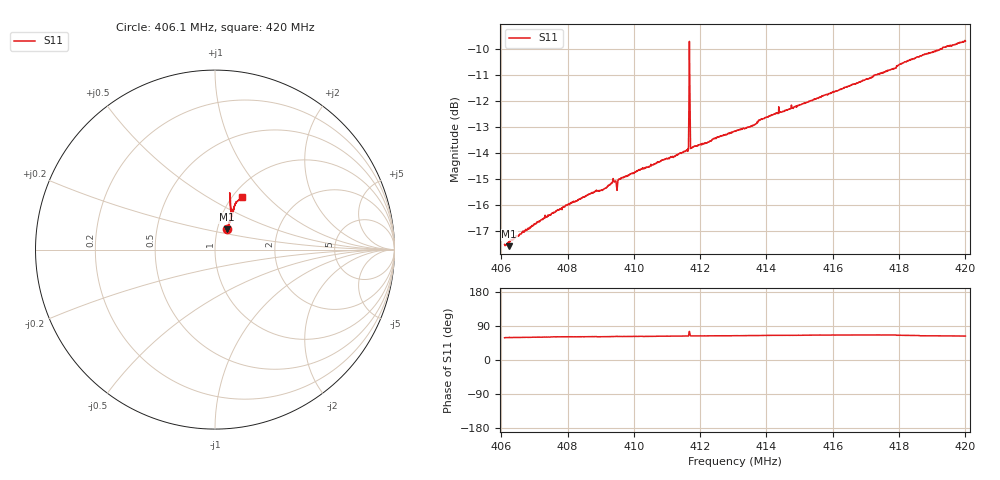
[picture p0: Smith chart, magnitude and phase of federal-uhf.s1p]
! Calibrated averaged scanner-service zoom
# Hz S RI R 50
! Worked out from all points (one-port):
!   2001 points, 406.1 MHz to 420 MHz, reference 50 ohm
!   lowest |S11| = -17.6 dB at 406.24 MHz (marker M1), VSWR 1.30, Z = 55.5 + j12.9 ohm
!   |S11| at or under -10 dB: start of sweep to 411.67 MHz; 411.68 MHz to 419.25 MHz (7.576 MHz wide, 1.82 % of centre); 419.2763 MHz to 419.3006 MHz (24.27 kHz wide, 0.00579 % of centre)
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4.061e8  0.0688 0.1136
4.06239e8  0.066 0.1141
4.070591e8  0.0726 0.1266
4.078375e8  0.0749 0.1369
4.088105e8  0.0795 0.1477
4.090816e8  0.081 0.149
4.093874e8  0.0829 0.1555
4.095333e8  0.0829 0.1565
4.09575e8  0.083 0.1569
4.113125e8  0.0896 0.176
4.115766e8  0.0903 0.1802
4.115905e8  0.0902 0.1802
4.116114e8  0.0905 0.1806
4.116252e8  0.0903 0.1792
4.117086e8  0.0904 0.1821
4.117295e8  0.0911 0.1823
4.117434e8  0.0908 0.1824
4.117573e8  0.0905 0.1829
4.117782e8  0.0909 0.1833
4.1305e8  0.096 0.1977
4.135712e8  0.0971 0.2027
4.138214e8  0.0989 0.2088
4.147875e8  0.1026 0.2212
4.16525e8  0.1097 0.2455
4.178455e8  0.1174 0.2642
4.182625e8  0.1271 0.272
4.186864e8  0.135 0.2756
4.2e8  0.148 0.2921
